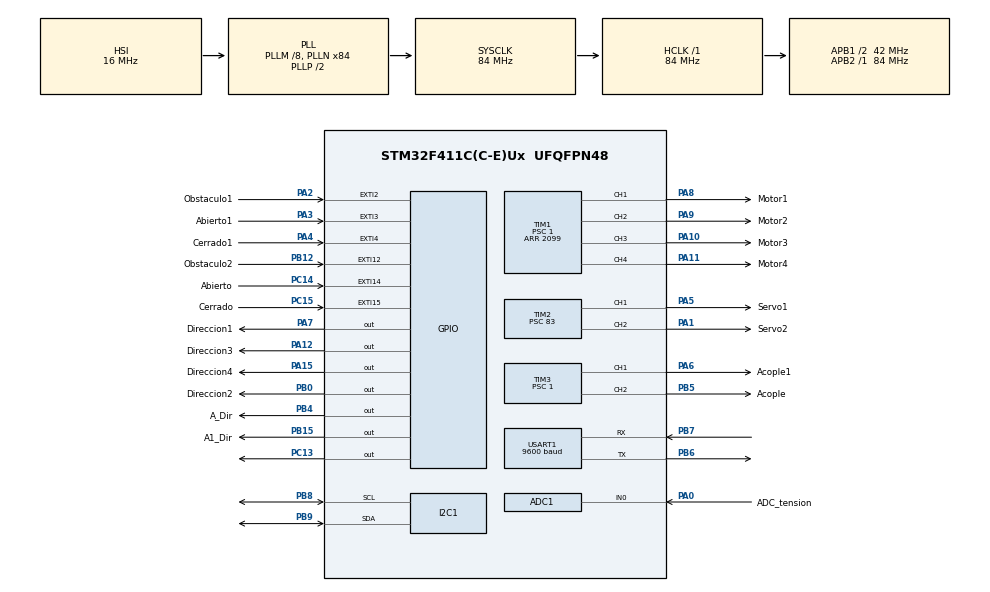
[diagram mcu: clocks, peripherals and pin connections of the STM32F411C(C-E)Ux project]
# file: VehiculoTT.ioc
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ADC1.Channel-0\#ChannelRegularConversion=ADC_CHANNEL_0
ADC1.ContinuousConvMode=ENABLE
ADC1.DMAContinuousRequests=ENABLE
ADC1.NbrOfConversionFlag=1
ADC1.Rank-0\#ChannelRegularConversion=1
ADC1.SamplingTime-0\#ChannelRegularConversion=ADC_SAMPLETIME_3CYCLES
ADC1.master=1
Dma.ADC1.2.Direction=DMA_PERIPH_TO_MEMORY
Dma.ADC1.2.FIFOMode=DMA_FIFOMODE_DISABLE
Dma.ADC1.2.Instance=DMA2_Stream0
Dma.ADC1.2.MemDataAlignment=DMA_MDATAALIGN_HALFWORD
Dma.ADC1.2.MemInc=DMA_MINC_ENABLE
Dma.ADC1.2.Mode=DMA_CIRCULAR
Dma.ADC1.2.PeriphDataAlignment=DMA_PDATAALIGN_HALFWORD
Dma.ADC1.2.PeriphInc=DMA_PINC_DISABLE
Dma.ADC1.2.Priority=DMA_PRIORITY_LOW
Dma.Request0=USART1_RX
Dma.Request1=USART1_TX
Dma.Request2=ADC1
Dma.USART1_RX.0.Direction=DMA_PERIPH_TO_MEMORY
Dma.USART1_RX.0.FIFOMode=DMA_FIFOMODE_DISABLE
Dma.USART1_RX.0.Instance=DMA2_Stream2
Dma.USART1_RX.0.MemDataAlignment=DMA_MDATAALIGN_BYTE
Dma.USART1_RX.0.MemInc=DMA_MINC_ENABLE
Dma.USART1_RX.0.Mode=DMA_CIRCULAR
Dma.USART1_RX.0.PeriphDataAlignment=DMA_PDATAALIGN_BYTE
Dma.USART1_RX.0.PeriphInc=DMA_PINC_DISABLE
Dma.USART1_RX.0.Priority=DMA_PRIORITY_HIGH
Dma.USART1_TX.1.Direction=DMA_MEMORY_TO_PERIPH
Dma.USART1_TX.1.FIFOMode=DMA_FIFOMODE_DISABLE
Dma.USART1_TX.1.Instance=DMA2_Stream7
Dma.USART1_TX.1.MemDataAlignment=DMA_MDATAALIGN_BYTE
Dma.USART1_TX.1.MemInc=DMA_MINC_ENABLE
Dma.USART1_TX.1.Mode=DMA_NORMAL
Dma.USART1_TX.1.PeriphDataAlignment=DMA_PDATAALIGN_BYTE
Dma.USART1_TX.1.PeriphInc=DMA_PINC_DISABLE
Dma.USART1_TX.1.Priority=DMA_PRIORITY_MEDIUM
FREERTOS.Events01=semiAutoEvt,Dynamic,NULL
FREERTOS.Tasks01=defaultTask,24,128,StartDefaultTask,Default,NULL,Dynamic,NULL,NULL;parserTask,32,128,ParserTask,Default,NULL,Dynamic,NULL,NULL;sendTelemetria,24,512,StartTelemetriaTask,Default,NULL,Dynamic,NULL,NULL;semiAutoTask,41,256,StartSemiAutoTask,Default,NULL,Dynamic,NULL,NULL
FREERTOS.configUSE_NEWLIB_REENTRANT=1
Mcu.Family=STM32F4
Mcu.Name=STM32F411C(C-E)Ux
Mcu.Package=UFQFPN48
NVIC.DMA2_Stream0_IRQn=true\:5\:0\:false\:false\:true\:true\:false\:true\:true
NVIC.DMA2_Stream2_IRQn=true\:5\:0\:false\:false\:true\:true\:false\:true\:true
NVIC.DMA2_Stream7_IRQn=true\:5\:0\:false\:false\:true\:true\:false\:true\:true
NVIC.EXTI15_10_IRQn=true\:5\:0\:false\:false\:true\:true\:true\:true\:true
NVIC.EXTI2_IRQn=true\:5\:0\:false\:false\:true\:true\:true\:true\:true
NVIC.EXTI3_IRQn=true\:5\:0\:false\:false\:true\:true\:true\:true\:true
NVIC.EXTI4_IRQn=true\:5\:0\:false\:false\:true\:true\:true\:true\:true
NVIC.PriorityGroup=NVIC_PRIORITYGROUP_4
NVIC.TIM1_BRK_TIM9_IRQn=true\:15\:0\:false\:false\:true\:false\:false\:true\:true
NVIC.TimeBase=TIM1_BRK_TIM9_IRQn
NVIC.TimeBaseIP=TIM9
NVIC.USART1_IRQn=true\:5\:0\:false\:false\:true\:true\:true\:true\:true
PA0-WKUP.GPIO_Label=ADC_tension
PA0-WKUP.Signal=ADCx_IN0
PA1.GPIO_Label=Servo2
PA1.Signal=S_TIM2_CH2
PA10.GPIO_Label=Motor3
PA10.Signal=S_TIM1_CH3
PA11.GPIO_Label=Motor4
PA11.Signal=S_TIM1_CH4
PA12.GPIO_Label=Direccion3
PA12.Signal=GPIO_Output
PA15.GPIO_Label=Direccion4
PA15.Signal=GPIO_Output
PA2.GPIO_Label=Obstaculo1
PA2.GPIO_PuPd=GPIO_PULLDOWN
PA2.Signal=GPXTI2
PA3.GPIO_Label=Abierto1
PA3.GPIO_PuPd=GPIO_PULLDOWN
PA3.Signal=GPXTI3
PA4.GPIO_Label=Cerrado1
PA4.GPIO_PuPd=GPIO_PULLDOWN
PA4.Signal=GPXTI4
PA5.GPIO_Label=Servo1
PA5.Signal=S_TIM2_CH1_ETR
PA6.GPIO_Label=Acople1
PA6.Signal=S_TIM3_CH1
PA7.GPIO_Label=Direccion1
PA7.Signal=GPIO_Output
PA8.GPIO_Label=Motor1
PA8.Signal=S_TIM1_CH1
PA9.GPIO_Label=Motor2
PA9.Signal=S_TIM1_CH2
PB0.GPIO_Label=Direccion2
PB0.Signal=GPIO_Output
PB12.GPIO_Label=Obstaculo2
PB12.GPIO_PuPd=GPIO_PULLDOWN
PB12.Signal=GPXTI12
PB15.GPIO_Label=A1_Dir
PB15.Signal=GPIO_Output
PB4.GPIO_Label=A_Dir
PB4.Signal=GPIO_Output
PB5.GPIO_Label=Acople
PB5.Signal=S_TIM3_CH2
PB6.Mode=Asynchronous
PB6.Signal=USART1_TX
PB7.Mode=Asynchronous
PB7.Signal=USART1_RX
PB8.Mode=I2C
PB8.Signal=I2C1_SCL
PB9.Mode=I2C
PB9.Signal=I2C1_SDA
PC13-ANTI_TAMP.Signal=GPIO_Output
PC14-OSC32_IN.GPIO_Label=Abierto
PC14-OSC32_IN.GPIO_PuPd=GPIO_PULLDOWN
PC14-OSC32_IN.Signal=GPXTI14
PC15-OSC32_OUT.GPIO_Label=Cerrado
PC15-OSC32_OUT.GPIO_PuPd=GPIO_PULLDOWN
PC15-OSC32_OUT.Signal=GPXTI15
PH0\ -\ OSC_IN.Mode=HSE-External-Oscillator
PH0\ -\ OSC_IN.Signal=RCC_OSC_IN
PH1\ -\ OSC_OUT.Mode=HSE-External-Oscillator
PH1\ -\ OSC_OUT.Signal=RCC_OSC_OUT
ProjectManager.HeapSize=0x200
ProjectManager.StackSize=0x400
ProjectManager.TargetToolchain=STM32CubeIDE
RCC.48MHZClocksFreq_Value=42000000
RCC.AHBFreq_Value=84000000
RCC.APB1CLKDivider=RCC_HCLK_DIV2
RCC.APB1Freq_Value=42000000
RCC.APB1TimFreq_Value=84000000
RCC.APB2Freq_Value=84000000
RCC.APB2TimFreq_Value=84000000
RCC.CortexFreq_Value=84000000
RCC.HCLKFreq_Value=84000000
RCC.HSE_VALUE=25000000
RCC.HSI_VALUE=16000000
RCC.LSE_VALUE=32768
RCC.PLLM=8
RCC.PLLN=84
RCC.SYSCLKFreq_VALUE=84000000
RCC.SYSCLKSource=RCC_SYSCLKSOURCE_PLLCLK
RCC.VCOOutputFreq_Value=168000000
SH.ADCx_IN0.0=ADC1_IN0,IN0
SH.S_TIM1_CH1.0=TIM1_CH1,PWM Generation1 CH1
SH.S_TIM1_CH2.0=TIM1_CH2,PWM Generation2 CH2
SH.S_TIM1_CH3.0=TIM1_CH3,PWM Generation3 CH3
SH.S_TIM1_CH4.0=TIM1_CH4,PWM Generation4 CH4
SH.S_TIM2_CH1_ETR.0=TIM2_CH1,PWM Generation1 CH1
SH.S_TIM2_CH2.0=TIM2_CH2,PWM Generation2 CH2
SH.S_TIM3_CH1.0=TIM3_CH1,PWM Generation1 CH1
SH.S_TIM3_CH2.0=TIM3_CH2,PWM Generation2 CH2
TIM1.Channel-PWM\ Generation1\ CH1=TIM_CHANNEL_1
TIM1.Channel-PWM\ Generation2\ CH2=TIM_CHANNEL_2
TIM1.Channel-PWM\ Generation3\ CH3=TIM_CHANNEL_3
TIM1.Channel-PWM\ Generation4\ CH4=TIM_CHANNEL_4
TIM1.OCPolarity_3=TIM_OCPOLARITY_HIGH
TIM1.OCPolarity_4=TIM_OCPOLARITY_HIGH
TIM1.Period=2099
TIM1.Prescaler=1
TIM2.Channel-PWM\ Generation1\ CH1=TIM_CHANNEL_1
TIM2.Channel-PWM\ Generation2\ CH2=TIM_CHANNEL_2
TIM2.Period=19999
TIM2.Prescaler=83
TIM3.Channel-PWM\ Generation1\ CH1=TIM_CHANNEL_1
TIM3.Channel-PWM\ Generation2\ CH2=TIM_CHANNEL_2
TIM3.Period=2099
TIM3.Prescaler=1
USART1.BaudRate=9600
USART1.VirtualMode=VM_ASYNC
VP_FREERTOS_VS_CMSIS_V2.Mode=CMSIS_V2
VP_SYS_VS_tim9.Mode=TIM9
VP_TIM1_VS_ClockSourceINT.Mode=Internal
VP_TIM2_VS_ClockSourceINT.Mode=Internal
VP_TIM3_VS_ClockSourceINT.Mode=Internal
board=custom

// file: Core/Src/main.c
/* USER CODE BEGIN Header */
/**
  ******************************************************************************
  * @file           : main.c
  * @brief          : Main program body
  ******************************************************************************
  * @attention
  *
  * Copyright (c) 2025 STMicroelectronics.
  * All rights reserved.
  *
  * This software is licensed under terms that can be found in the LICENSE file
  * in the root directory of this software component.
  * If no LICENSE file comes with this software, it is provided AS-IS.
  *
  ******************************************************************************
  */
/* USER CODE END Header */
#include "main.h"
#include "cmsis_os.h"

/* USER CODE BEGIN Includes */
#include "string.h"
#include <stdio.h>
#include <math.h>
#include <stdlib.h>
#include "LCD_I2C.h"
#include "MPU9250.h"
#include "protocolo.h"
#include "motor_control.h"
#include "vl53l0x_platform.h"
#include "vl53l0x_api.h"
#include "INA226.h"
#include "globals.h"
/* USER CODE END Includes */

/* USER CODE BEGIN PD */
#define DMA_RX_BUF_SIZE 64
#define ADC_BUF_LEN 10
/* USER CODE END PD */

ADC_HandleTypeDef hadc1;
DMA_HandleTypeDef hdma_adc1;

I2C_HandleTypeDef hi2c1;

TIM_HandleTypeDef htim1;
TIM_HandleTypeDef htim2;
TIM_HandleTypeDef htim3;
TIM_HandleTypeDef htim4;

UART_HandleTypeDef huart1;
DMA_HandleTypeDef hdma_usart1_rx;
DMA_HandleTypeDef hdma_usart1_tx;

/* Definitions for defaultTask */
osThreadId_t defaultTaskHandle;
const osThreadAttr_t defaultTask_attributes = {
  .name = "defaultTask",
  .stack_size = 128 * 4,
  .priority = (osPriority_t) osPriorityNormal,
};
/* Definitions for parserTask */
osThreadId_t parserTaskHandle;
const osThreadAttr_t parserTask_attributes = {
  .name = "parserTask",
  .stack_size = 128 * 4,
  .priority = (osPriority_t) osPriorityAboveNormal,
};
/* Definitions for sendTelemetria */
osThreadId_t sendTelemetriaHandle;
const osThreadAttr_t sendTelemetria_attributes = {
  .name = "sendTelemetria",
  .stack_size = 512 * 4,
  .priority = (osPriority_t) osPriorityNormal,
};
/* Definitions for semiAutoTask */
osThreadId_t semiAutoTaskHandle;
const osThreadAttr_t semiAutoTask_attributes = {
  .name = "semiAutoTask",
  .stack_size = 256 * 4,
  .priority = (osPriority_t) osPriorityHigh1,
};
/* Definitions for semiAutoEvt */
osEventFlagsId_t semiAutoEvtHandle;
const osEventFlagsAttr_t semiAutoEvt_attributes = {
  .name = "semiAutoEvt"
};
/* USER CODE BEGIN PV */
uint8_t dma_rx_buf[DMA_RX_BUF_SIZE];
volatile uint16_t dma_read_idx = 0;
osSemaphoreId_t uartRxSemHandle;
uint16_t adc_buffer[ADC_BUF_LEN];
/* VL53L0X */
VL53L0X_Dev_t                      vl53l0x_dev;
VL53L0X_RangingMeasurementData_t   vl53l0x_meas;
volatile uint16_t                   distancia_mm = 0;

volatile VL53L0X_Error vl53_init_status = 0;
volatile VL53L0X_Error vl53_meas_status = 0;
volatile uint8_t       vl53_range_status = 0xFF;
/* USER CODE END PV */

void SystemClock_Config(void);
static void MX_GPIO_Init(void);
static void MX_DMA_Init(void);
static void MX_I2C1_Init(void);
static void MX_USART1_UART_Init(void);
static void MX_TIM1_Init(void);
static void MX_TIM2_Init(void);
static void MX_ADC1_Init(void);
static void MX_TIM3_Init(void);
void StartDefaultTask(void *argument);
void ParserTask(void *argument);
void StartTelemetriaTask(void *argument);
void StartSemiAutoTask(void *argument);

/* USER CODE BEGIN PFP */
static void MX_TIM4_DebounceInit(void);

/* USER CODE END PFP */

/* USER CODE BEGIN 0 */
/**
  * @brief  Configura TIM4 como una base de tiempo dedicada que genera una
  *         interrupcion periodica cada 10 ms, usada unicamente para el
  *         antirrebote por muestreo del pin Abierto1 (ver TIM4_IRQHandler
  *         en stm32f4xx_it.c). TIM4 no se usa para ningun otro proposito.
  * @retval None
  */
static void MX_TIM4_DebounceInit(void)
{
  __HAL_RCC_TIM4_CLK_ENABLE();

  htim4.Instance = TIM4;
  htim4.Init.Prescaler = 83;                 /* 84 MHz / 84 = 1 MHz -> 1 us por cuenta */
  htim4.Init.CounterMode = TIM_COUNTERMODE_UP;
  htim4.Init.Period = 9999;                  /* 10000 cuentas de 1 us = 10 ms */
  htim4.Init.ClockDivision = TIM_CLOCKDIVISION_DIV1;
  htim4.Init.AutoReloadPreload = TIM_AUTORELOAD_PRELOAD_DISABLE;
  if (HAL_TIM_Base_Init(&htim4) != HAL_OK)
  {
    Error_Handler();
  }

  HAL_NVIC_SetPriority(TIM4_IRQn, 6, 0);
  HAL_NVIC_EnableIRQ(TIM4_IRQn);
  HAL_TIM_Base_Start_IT(&htim4);
}
/* USER CODE END 0 */

int main(void)
{

  /* MCU Configuration--------------------------------------------------------*/

  /* Reset of all peripherals, Initializes the Flash interface and the Systick. */
  HAL_Init();

  /* Configure the system clock */
  SystemClock_Config();

  /* Initialize all configured peripherals */
  MX_GPIO_Init();
  MX_DMA_Init();
  MX_I2C1_Init();
  MX_USART1_UART_Init();
  MX_TIM1_Init();
  MX_TIM2_Init();
  MX_ADC1_Init();
  MX_TIM3_Init();
  /* USER CODE BEGIN 2 */
  MX_TIM4_DebounceInit();
  MPU6050_Init();
  Motor_Init();
  HAL_ADC_Start_DMA(&hadc1,(uint32_t*)adc_buffer, ADC_BUF_LEN);
  updateConfiguration(AVERAGE_4, CONV_TIME_332, SHUNTBUS_CONTINOUS);
  HAL_UART_Receive_DMA(&huart1, dma_rx_buf, DMA_RX_BUF_SIZE);
  __HAL_UART_ENABLE_IT(&huart1, UART_IT_IDLE);
  HAL_NVIC_SetPriority(USART1_IRQn, 6, 0);
  HAL_NVIC_EnableIRQ(USART1_IRQn);
  uint16_t packet_size = 0;
              uint8_t tx_buffer[20];
              uint8_t payload[1] = { (uint8_t)0 };
              packet_size = build_packet(tx_buffer, RESP_SUCCESS, payload, 1);
              if (huart1.gState == HAL_UART_STATE_READY)
                  HAL_UART_Transmit_DMA(&huart1, tx_buffer, packet_size);

  {
    uint32_t refSpadCount;
    uint8_t  isApertureSpads;
    uint8_t  VhvSettings, PhaseCal;
    VL53L0X_Error vl_status = -7;
    vl53l0x_dev.I2cDevAddr      = VL53L0X_DEFAULT_ADDR;
    vl53l0x_dev.comms_speed_khz = 100;
    vl53l0x_dev.comms_type      = 1;
    vl_status = VL53L0X_DataInit(&vl53l0x_dev);
    vl53_init_status = vl_status;
    if (vl_status != VL53L0X_ERROR_NONE) goto vl53_init_fail;
    vl_status = VL53L0X_StaticInit(&vl53l0x_dev);
    vl53_init_status = vl_status;
    if (vl_status != VL53L0X_ERROR_NONE) goto vl53_init_fail;
    vl_status = VL53L0X_PerformRefCalibration(&vl53l0x_dev, &VhvSettings, &PhaseCal);
    vl53_init_status = vl_status;
    if (vl_status != VL53L0X_ERROR_NONE) goto vl53_init_fail;
    vl_status = VL53L0X_PerformRefSpadManagement(&vl53l0x_dev, &refSpadCount, &isApertureSpads);
    vl53_init_status = vl_status;
    if (vl_status != VL53L0X_ERROR_NONE) goto vl53_init_fail;
    vl_status = VL53L0X_SetDeviceMode(&vl53l0x_dev, VL53L0X_DEVICEMODE_SINGLE_RANGING);
    vl53_init_status = vl_status;
    vl53_init_fail:;
  }

  /* USER CODE END 2 */
  //Prueba
  /* Init scheduler */
  osKernelInitialize();

  /* USER CODE BEGIN RTOS_SEMAPHORES */
  const osSemaphoreAttr_t uartRxSem_attr = { .name = "uartRxSem" };
  uartRxSemHandle = osSemaphoreNew(1, 0, &uartRxSem_attr);
  /* USER CODE END RTOS_SEMAPHORES */

  /* Create the thread(s) */
  /* creation of defaultTask */
  defaultTaskHandle = osThreadNew(StartDefaultTask, NULL, &defaultTask_attributes);

  /* creation of parserTask */
  parserTaskHandle = osThreadNew(ParserTask, NULL, &parserTask_attributes);

  /* creation of sendTelemetria */
  sendTelemetriaHandle = osThreadNew(StartTelemetriaTask, NULL, &sendTelemetria_attributes);

  /* creation of semiAutoTask */
  semiAutoTaskHandle = osThreadNew(StartSemiAutoTask, NULL, &semiAutoTask_attributes);

  /* Create the event(s) */
  /* creation of semiAutoEvt */
  semiAutoEvtHandle = osEventFlagsNew(&semiAutoEvt_attributes);

  /* Start scheduler */
  osKernelStart();

  /* We should never get here as control is now taken by the scheduler */

  /* Infinite loop */
  while (1)
  {

  }
}

void SystemClock_Config(void)
{
  RCC_OscInitTypeDef RCC_OscInitStruct = {0};
  RCC_ClkInitTypeDef RCC_ClkInitStruct = {0};

  /** Configure the main internal regulator output voltage
  */
  __HAL_RCC_PWR_CLK_ENABLE();
  __HAL_PWR_VOLTAGESCALING_CONFIG(PWR_REGULATOR_VOLTAGE_SCALE1);

  /** Initializes the RCC Oscillators according to the specified parameters
  * in the RCC_OscInitTypeDef structure.
  */
  RCC_OscInitStruct.OscillatorType = RCC_OSCILLATORTYPE_HSI;
  RCC_OscInitStruct.HSIState = RCC_HSI_ON;
  RCC_OscInitStruct.HSICalibrationValue = RCC_HSICALIBRATION_DEFAULT;
  RCC_OscInitStruct.PLL.PLLState = RCC_PLL_ON;
  RCC_OscInitStruct.PLL.PLLSource = RCC_PLLSOURCE_HSI;
  RCC_OscInitStruct.PLL.PLLM = 8;
  RCC_OscInitStruct.PLL.PLLN = 84;
  RCC_OscInitStruct.PLL.PLLP = RCC_PLLP_DIV2;
  RCC_OscInitStruct.PLL.PLLQ = 4;
  if (HAL_RCC_OscConfig(&RCC_OscInitStruct) != HAL_OK)
  {
    Error_Handler();
  }

  /** Initializes the CPU, AHB and APB buses clocks
  */
  RCC_ClkInitStruct.ClockType = RCC_CLOCKTYPE_HCLK|RCC_CLOCKTYPE_SYSCLK
                              |RCC_CLOCKTYPE_PCLK1|RCC_CLOCKTYPE_PCLK2;
  RCC_ClkInitStruct.SYSCLKSource = RCC_SYSCLKSOURCE_PLLCLK;
  RCC_ClkInitStruct.AHBCLKDivider = RCC_SYSCLK_DIV1;
  RCC_ClkInitStruct.APB1CLKDivider = RCC_HCLK_DIV2;
  RCC_ClkInitStruct.APB2CLKDivider = RCC_HCLK_DIV1;

  if (HAL_RCC_ClockConfig(&RCC_ClkInitStruct, FLASH_LATENCY_2) != HAL_OK)
  {
    Error_Handler();
  }
}

static void MX_ADC1_Init(void)
{

  ADC_ChannelConfTypeDef sConfig = {0};

  /** Configure the global features of the ADC (Clock, Resolution, Data Alignment and number of conversion)
  */
  hadc1.Instance = ADC1;
  hadc1.Init.ClockPrescaler = ADC_CLOCK_SYNC_PCLK_DIV4;
  hadc1.Init.Resolution = ADC_RESOLUTION_12B;
  hadc1.Init.ScanConvMode = DISABLE;
  hadc1.Init.ContinuousConvMode = ENABLE;
  hadc1.Init.DiscontinuousConvMode = DISABLE;
  hadc1.Init.ExternalTrigConvEdge = ADC_EXTERNALTRIGCONVEDGE_NONE;
  hadc1.Init.ExternalTrigConv = ADC_SOFTWARE_START;
  hadc1.Init.DataAlign = ADC_DATAALIGN_RIGHT;
  hadc1.Init.NbrOfConversion = 1;
  hadc1.Init.DMAContinuousRequests = ENABLE;
  hadc1.Init.EOCSelection = ADC_EOC_SINGLE_CONV;
  if (HAL_ADC_Init(&hadc1) != HAL_OK)
  {
    Error_Handler();
  }

  /** Configure for the selected ADC regular channel its corresponding rank in the sequencer and its sample time.
  */
  sConfig.Channel = ADC_CHANNEL_0;
  sConfig.Rank = 1;
  sConfig.SamplingTime = ADC_SAMPLETIME_3CYCLES;
  if (HAL_ADC_ConfigChannel(&hadc1, &sConfig) != HAL_OK)
  {
    Error_Handler();
  }

}

static void MX_I2C1_Init(void)
{

  hi2c1.Instance = I2C1;
  hi2c1.Init.ClockSpeed = 100000;
  hi2c1.Init.DutyCycle = I2C_DUTYCYCLE_2;
  hi2c1.Init.OwnAddress1 = 0;
  hi2c1.Init.AddressingMode = I2C_ADDRESSINGMODE_7BIT;
  hi2c1.Init.DualAddressMode = I2C_DUALADDRESS_DISABLE;
  hi2c1.Init.OwnAddress2 = 0;
  hi2c1.Init.GeneralCallMode = I2C_GENERALCALL_DISABLE;
  hi2c1.Init.NoStretchMode = I2C_NOSTRETCH_DISABLE;
  if (HAL_I2C_Init(&hi2c1) != HAL_OK)
  {
    Error_Handler();
  }

}

static void MX_TIM1_Init(void)
{

  TIM_ClockConfigTypeDef sClockSourceConfig = {0};
  TIM_MasterConfigTypeDef sMasterConfig = {0};
  TIM_OC_InitTypeDef sConfigOC = {0};
  TIM_BreakDeadTimeConfigTypeDef sBreakDeadTimeConfig = {0};

  htim1.Instance = TIM1;
  htim1.Init.Prescaler = 1;
  htim1.Init.CounterMode = TIM_COUNTERMODE_UP;
  htim1.Init.Period = 2099;
  htim1.Init.ClockDivision = TIM_CLOCKDIVISION_DIV1;
  htim1.Init.RepetitionCounter = 0;
  htim1.Init.AutoReloadPreload = TIM_AUTORELOAD_PRELOAD_DISABLE;
  if (HAL_TIM_Base_Init(&htim1) != HAL_OK)
  {
    Error_Handler();
  }
  sClockSourceConfig.ClockSource = TIM_CLOCKSOURCE_INTERNAL;
  if (HAL_TIM_ConfigClockSource(&htim1, &sClockSourceConfig) != HAL_OK)
  {
    Error_Handler();
  }
  if (HAL_TIM_PWM_Init(&htim1) != HAL_OK)
  {
    Error_Handler();
  }
  sMasterConfig.MasterOutputTrigger = TIM_TRGO_RESET;
  sMasterConfig.MasterSlaveMode = TIM_MASTERSLAVEMODE_DISABLE;
  if (HAL_TIMEx_MasterConfigSynchronization(&htim1, &sMasterConfig) != HAL_OK)
  {
    Error_Handler();
  }
  sConfigOC.OCMode = TIM_OCMODE_PWM1;
  sConfigOC.Pulse = 0;
  sConfigOC.OCPolarity = TIM_OCPOLARITY_HIGH;
  sConfigOC.OCNPolarity = TIM_OCNPOLARITY_HIGH;
  sConfigOC.OCFastMode = TIM_OCFAST_DISABLE;
  sConfigOC.OCIdleState = TIM_OCIDLESTATE_RESET;
  sConfigOC.OCNIdleState = TIM_OCNIDLESTATE_RESET;
  if (HAL_TIM_PWM_ConfigChannel(&htim1, &sConfigOC, TIM_CHANNEL_1) != HAL_OK)
  {
    Error_Handler();
  }
  if (HAL_TIM_PWM_ConfigChannel(&htim1, &sConfigOC, TIM_CHANNEL_2) != HAL_OK)
  {
    Error_Handler();
  }
  if (HAL_TIM_PWM_ConfigChannel(&htim1, &sConfigOC, TIM_CHANNEL_3) != HAL_OK)
  {
    Error_Handler();
  }
  if (HAL_TIM_PWM_ConfigChannel(&htim1, &sConfigOC, TIM_CHANNEL_4) != HAL_OK)
  {
    Error_Handler();
  }
  sBreakDeadTimeConfig.OffStateRunMode = TIM_OSSR_DISABLE;
  sBreakDeadTimeConfig.OffStateIDLEMode = TIM_OSSI_DISABLE;
  sBreakDeadTimeConfig.LockLevel = TIM_LOCKLEVEL_OFF;
  sBreakDeadTimeConfig.DeadTime = 0;
  sBreakDeadTimeConfig.BreakState = TIM_BREAK_DISABLE;
  sBreakDeadTimeConfig.BreakPolarity = TIM_BREAKPOLARITY_HIGH;
  sBreakDeadTimeConfig.AutomaticOutput = TIM_AUTOMATICOUTPUT_DISABLE;
  if (HAL_TIMEx_ConfigBreakDeadTime(&htim1, &sBreakDeadTimeConfig) != HAL_OK)
  {
    Error_Handler();
  }
  HAL_TIM_MspPostInit(&htim1);

}

static void MX_TIM2_Init(void)
{

  TIM_ClockConfigTypeDef sClockSourceConfig = {0};
  TIM_MasterConfigTypeDef sMasterConfig = {0};
  TIM_OC_InitTypeDef sConfigOC = {0};

  htim2.Instance = TIM2;
  htim2.Init.Prescaler = 83;
  htim2.Init.CounterMode = TIM_COUNTERMODE_UP;
  htim2.Init.Period = 19999;
  htim2.Init.ClockDivision = TIM_CLOCKDIVISION_DIV1;
  htim2.Init.AutoReloadPreload = TIM_AUTORELOAD_PRELOAD_DISABLE;
  if (HAL_TIM_Base_Init(&htim2) != HAL_OK)
  {
    Error_Handler();
  }
  sClockSourceConfig.ClockSource = TIM_CLOCKSOURCE_INTERNAL;
  if (HAL_TIM_ConfigClockSource(&htim2, &sClockSourceConfig) != HAL_OK)
  {
    Error_Handler();
  }
  if (HAL_TIM_PWM_Init(&htim2) != HAL_OK)
  {
    Error_Handler();
  }
  sMasterConfig.MasterOutputTrigger = TIM_TRGO_RESET;
  sMasterConfig.MasterSlaveMode = TIM_MASTERSLAVEMODE_DISABLE;
  if (HAL_TIMEx_MasterConfigSynchronization(&htim2, &sMasterConfig) != HAL_OK)
  {
    Error_Handler();
  }
  sConfigOC.OCMode = TIM_OCMODE_PWM1;
  sConfigOC.Pulse = 0;
  sConfigOC.OCPolarity = TIM_OCPOLARITY_HIGH;
  sConfigOC.OCFastMode = TIM_OCFAST_DISABLE;
  if (HAL_TIM_PWM_ConfigChannel(&htim2, &sConfigOC, TIM_CHANNEL_1) != HAL_OK)
  {
    Error_Handler();
  }
  if (HAL_TIM_PWM_ConfigChannel(&htim2, &sConfigOC, TIM_CHANNEL_2) != HAL_OK)
  {
    Error_Handler();
  }
  HAL_TIM_MspPostInit(&htim2);

}

static void MX_TIM3_Init(void)
{

  TIM_ClockConfigTypeDef sClockSourceConfig = {0};
  TIM_MasterConfigTypeDef sMasterConfig = {0};
  TIM_OC_InitTypeDef sConfigOC = {0};

  htim3.Instance = TIM3;
  htim3.Init.Prescaler = 1;
  htim3.Init.CounterMode = TIM_COUNTERMODE_UP;
  htim3.Init.Period = 2099;
  htim3.Init.ClockDivision = TIM_CLOCKDIVISION_DIV1;
  htim3.Init.AutoReloadPreload = TIM_AUTORELOAD_PRELOAD_DISABLE;
  if (HAL_TIM_Base_Init(&htim3) != HAL_OK)
  {
    Error_Handler();
  }
  sClockSourceConfig.ClockSource = TIM_CLOCKSOURCE_INTERNAL;
  if (HAL_TIM_ConfigClockSource(&htim3, &sClockSourceConfig) != HAL_OK)
  {
    Error_Handler();
  }
  if (HAL_TIM_PWM_Init(&htim3) != HAL_OK)
  {
    Error_Handler();
  }
  sMasterConfig.MasterOutputTrigger = TIM_TRGO_RESET;
  sMasterConfig.MasterSlaveMode = TIM_MASTERSLAVEMODE_DISABLE;
  if (HAL_TIMEx_MasterConfigSynchronization(&htim3, &sMasterConfig) != HAL_OK)
  {
    Error_Handler();
  }
  sConfigOC.OCMode = TIM_OCMODE_PWM1;
  sConfigOC.Pulse = 0;
  sConfigOC.OCPolarity = TIM_OCPOLARITY_HIGH;
  sConfigOC.OCFastMode = TIM_OCFAST_DISABLE;
  if (HAL_TIM_PWM_ConfigChannel(&htim3, &sConfigOC, TIM_CHANNEL_1) != HAL_OK)
  {
    Error_Handler();
  }
  if (HAL_TIM_PWM_ConfigChannel(&htim3, &sConfigOC, TIM_CHANNEL_2) != HAL_OK)
  {
    Error_Handler();
  }
  HAL_TIM_MspPostInit(&htim3);

}

static void MX_USART1_UART_Init(void)
{

  huart1.Instance = USART1;
  huart1.Init.BaudRate = 9600;
  huart1.Init.WordLength = UART_WORDLENGTH_8B;
  huart1.Init.StopBits = UART_STOPBITS_1;
  huart1.Init.Parity = UART_PARITY_NONE;
  huart1.Init.Mode = UART_MODE_TX_RX;
  huart1.Init.HwFlowCtl = UART_HWCONTROL_NONE;
  huart1.Init.OverSampling = UART_OVERSAMPLING_16;
  if (HAL_UART_Init(&huart1) != HAL_OK)
  {
    Error_Handler();
  }

}

static void MX_DMA_Init(void)
{

  /* DMA controller clock enable */
  __HAL_RCC_DMA2_CLK_ENABLE();

  /* DMA interrupt init */
  /* DMA2_Stream0_IRQn interrupt configuration */
  HAL_NVIC_SetPriority(DMA2_Stream0_IRQn, 5, 0);
  HAL_NVIC_EnableIRQ(DMA2_Stream0_IRQn);
  /* DMA2_Stream2_IRQn interrupt configuration */
  HAL_NVIC_SetPriority(DMA2_Stream2_IRQn, 5, 0);
  HAL_NVIC_EnableIRQ(DMA2_Stream2_IRQn);
  /* DMA2_Stream7_IRQn interrupt configuration */
  HAL_NVIC_SetPriority(DMA2_Stream7_IRQn, 5, 0);
  HAL_NVIC_EnableIRQ(DMA2_Stream7_IRQn);

}

static void MX_GPIO_Init(void)
{
  GPIO_InitTypeDef GPIO_InitStruct = {0};

  /* GPIO Ports Clock Enable */
  __HAL_RCC_GPIOC_CLK_ENABLE();
  __HAL_RCC_GPIOH_CLK_ENABLE();
  __HAL_RCC_GPIOA_CLK_ENABLE();
  __HAL_RCC_GPIOB_CLK_ENABLE();

  /*Configure GPIO pin Output Level */
  HAL_GPIO_WritePin(GPIOC, GPIO_PIN_13, GPIO_PIN_RESET);

  /*Configure GPIO pin Output Level */
  HAL_GPIO_WritePin(GPIOA, Direccion1_Pin|Direccion3_Pin|Direccion4_Pin, GPIO_PIN_RESET);

  /*Configure GPIO pin Output Level */
  HAL_GPIO_WritePin(GPIOB, Direccion2_Pin|A1_Dir_Pin|A_Dir_Pin, GPIO_PIN_RESET);

  /*Configure GPIO pin : PC13 */
  GPIO_InitStruct.Pin = GPIO_PIN_13;
  GPIO_InitStruct.Mode = GPIO_MODE_OUTPUT_PP;
  GPIO_InitStruct.Pull = GPIO_NOPULL;
  GPIO_InitStruct.Speed = GPIO_SPEED_FREQ_LOW;
  HAL_GPIO_Init(GPIOC, &GPIO_InitStruct);

  /*Configure GPIO pins : Abierto_Pin Cerrado_Pin */
  GPIO_InitStruct.Pin = Abierto_Pin|Cerrado_Pin;
  GPIO_InitStruct.Mode = GPIO_MODE_IT_RISING;
  GPIO_InitStruct.Pull = GPIO_PULLDOWN;
  HAL_GPIO_Init(GPIOC, &GPIO_InitStruct);

  /*Configure GPIO pins : Obstaculo1_Pin Abierto1_Pin Cerrado1_Pin */
  GPIO_InitStruct.Pin = Obstaculo1_Pin|Abierto1_Pin|Cerrado1_Pin;
  GPIO_InitStruct.Mode = GPIO_MODE_IT_RISING;
  GPIO_InitStruct.Pull = GPIO_PULLDOWN;
  HAL_GPIO_Init(GPIOA, &GPIO_InitStruct);

  /*Configure GPIO pins : Direccion1_Pin Direccion3_Pin Direccion4_Pin */
  GPIO_InitStruct.Pin = Direccion1_Pin|Direccion3_Pin|Direccion4_Pin;
  GPIO_InitStruct.Mode = GPIO_MODE_OUTPUT_PP;
  GPIO_InitStruct.Pull = GPIO_NOPULL;
  GPIO_InitStruct.Speed = GPIO_SPEED_FREQ_LOW;
  HAL_GPIO_Init(GPIOA, &GPIO_InitStruct);

  /*Configure GPIO pins : Direccion2_Pin A1_Dir_Pin A_Dir_Pin */
  GPIO_InitStruct.Pin = Direccion2_Pin|A1_Dir_Pin|A_Dir_Pin;
  GPIO_InitStruct.Mode = GPIO_MODE_OUTPUT_PP;
  GPIO_InitStruct.Pull = GPIO_NOPULL;
  GPIO_InitStruct.Speed = GPIO_SPEED_FREQ_LOW;
  HAL_GPIO_Init(GPIOB, &GPIO_InitStruct);

  /*Configure GPIO pin : Obstaculo2_Pin */
  GPIO_InitStruct.Pin = Obstaculo2_Pin;
  GPIO_InitStruct.Mode = GPIO_MODE_IT_RISING;
  GPIO_InitStruct.Pull = GPIO_PULLDOWN;
  HAL_GPIO_Init(Obstaculo2_GPIO_Port, &GPIO_InitStruct);

  /* EXTI interrupt init*/
  HAL_NVIC_SetPriority(EXTI2_IRQn, 5, 0);
  HAL_NVIC_EnableIRQ(EXTI2_IRQn);

  HAL_NVIC_SetPriority(EXTI3_IRQn, 5, 0);
  HAL_NVIC_EnableIRQ(EXTI3_IRQn);

  HAL_NVIC_SetPriority(EXTI4_IRQn, 5, 0);
  HAL_NVIC_EnableIRQ(EXTI4_IRQn);

  HAL_NVIC_SetPriority(EXTI15_10_IRQn, 5, 0);
  HAL_NVIC_EnableIRQ(EXTI15_10_IRQn);

}

void StartDefaultTask(void *argument)
{
  for(;;)
  {
    osDelay(1);
  }
}

void ParserTask(void *argument)
{
  /* USER CODE BEGIN ParserTask */
  Packet_t pkt;
  ParserCtx_t ctx = {0};
  osDelay(500);
  {
      static uint8_t sync_tx_buf[20];
      uint8_t sync_payload[1] = { (uint8_t)(int8_t)percentage_pulse };
      uint16_t sync_size = build_packet(sync_tx_buf, RESP_SUCCESS, sync_payload, 1);
      if (huart1.gState == HAL_UART_STATE_READY) {
          HAL_UART_Transmit_DMA(&huart1, sync_tx_buf, sync_size);
      }
  }

  for(;;)
  {
    osSemaphoreAcquire(uartRxSemHandle, osWaitForever);
    uint16_t dma_write_idx = (DMA_RX_BUF_SIZE
        - __HAL_DMA_GET_COUNTER(huart1.hdmarx)) % DMA_RX_BUF_SIZE;
    while (dma_read_idx != dma_write_idx) {
      uint8_t byte = dma_rx_buf[dma_read_idx];
      dma_read_idx = (dma_read_idx + 1) % DMA_RX_BUF_SIZE;
      if (parse_byte(byte, &pkt, &ctx)) {
        execute_command(&pkt);
      }
    }
  }
  /* USER CODE END ParserTask */
}

void StartTelemetriaTask(void *argument)
{
  /* USER CODE BEGIN StartTelemetriaTask */

  TickType_t xLastWakeTime;
  const TickType_t xFrequency = pdMS_TO_TICKS(700);
  static uint8_t tx_buffer[20];
  uint16_t packet_size = 0;
  xLastWakeTime = xTaskGetTickCount();
  float vbat1= 0.0f;
  int16_t ax, ay, az, gx, gy, gz;
  float Ax = 0, Ay = 0, Az = 0;

  for(;;)
  {
      MPU6050_Read(&ax, &ay, &az, &gx, &gy, &gz);
      Ax = ax / 16384.0f;
      Ay = ay / 16384.0f;
      Az = az / 16384.0f;
            uint32_t sum = 0;
            for(int i = 0; i < ADC_BUF_LEN; i++)
            {
                sum += adc_buffer[i];
            }
            vbat1 = (float)sum / ADC_BUF_LEN;
            vbat1 = (vbat1 / 4095.0f) * 16.5f;
            uint16_t vbat_send = (uint16_t)(vbat1 * 100.0f);
            vl53_meas_status = VL53L0X_PerformSingleRangingMeasurement(&vl53l0x_dev, &vl53l0x_meas);
            vl53_range_status = vl53l0x_meas.RangeStatus;

            if (vl53_meas_status == VL53L0X_ERROR_NONE && vl53_range_status == 0) {
                distancia_mm = vl53l0x_meas.RangeMilliMeter;
            }
            uint8_t dist_bytes[2] = {
                (uint8_t)(distancia_mm >> 8),
                (uint8_t)(distancia_mm & 0xFF)
            };
            int16_t ax_send = (int16_t)(Ax * 1000.0f);
            int16_t ay_send = (int16_t)(Ay * 1000.0f);
            int16_t az_send = (int16_t)(Az * 1000.0f);
            uint8_t payload[10] = {
                dist_bytes[0],
                dist_bytes[1],
                (uint8_t)(vbat_send >> 8), (uint8_t)(vbat_send & 0xFF),
                (uint8_t)(ax_send   >> 8), (uint8_t)(ax_send   & 0xFF),
                (uint8_t)(ay_send   >> 8), (uint8_t)(ay_send   & 0xFF),
                (uint8_t)(az_send   >> 8), (uint8_t)(az_send   & 0xFF)
            };
      packet_size = build_packet(tx_buffer, CMD_TELE_SENSORS, payload, 10);
      if (huart1.gState == HAL_UART_STATE_READY) {
          HAL_UART_Transmit_DMA(&huart1, tx_buffer, packet_size);
      }

      vTaskDelayUntil(&xLastWakeTime, xFrequency);
  }
  /* USER CODE END StartTelemetriaTask */
}

#define WAIT_FOR_ACOPLE(dir_var) \
    do { \
        uint32_t t_start = HAL_GetTick(); \
        while ((dir_var) != 0 && (HAL_GetTick() - t_start) < SEMIAUTO_DELAY_RUEDA_MS) { \
            if (osEventFlagsGet(semiAutoEvtHandle) & EVT_STOP_SEMI) break; \
            osDelay(20); \
        } \
    } while (0)

void StartSemiAutoTask(void *argument)
{
  /* USER CODE BEGIN StartSemiAutoTask */
  uint32_t flags;

  for (;;)
  {
    flags = osEventFlagsWait(semiAutoEvtHandle,
                             EVT_START_SEMI | EVT_STOP_SEMI,
                             osFlagsWaitAny | osFlagsNoClear,
                             osWaitForever);
    osEventFlagsClear(semiAutoEvtHandle, EVT_START_SEMI | EVT_STOP_SEMI);

    if (flags & EVT_STOP_SEMI) continue;
    if (HAL_GPIO_ReadPin(Cerrado_GPIO_Port, Cerrado_Pin) == GPIO_PIN_RESET) {
      Acoplar();
      WAIT_FOR_ACOPLE(dir_acoplar);
    }
    if (HAL_GPIO_ReadPin(Cerrado1_GPIO_Port, Cerrado1_Pin) == GPIO_PIN_RESET) {
      Acoplar1();
      WAIT_FOR_ACOPLE(dir_acoplar1);
    }
    Motor_SetAllPulse(MOTOR_PWM_MAX);
    uint8_t stop_requested = 0;
    while (1) {
      if (distancia_mm > 0 && distancia_mm < 43) {
        break;
      }
      flags = osEventFlagsWait(semiAutoEvtHandle,
                               EVT_STOP_SEMI,
                               osFlagsWaitAny | osFlagsNoClear,
                               50);
      if (!(flags & osFlagsError) && (flags & EVT_STOP_SEMI)) {
        osEventFlagsClear(semiAutoEvtHandle, EVT_STOP_SEMI);
        stop_requested = 1;
        break;
      }
    }

    if (stop_requested) { Motor_Stop(); continue; }
    Motor_Stop();
    if (pinza_abierta) {
        Cerrar_Pinza();
        pinza_abierta = 0;
    }
    if (pinza_abierta1) {
            Cerrar_Pinza1();
            pinza_abierta1 = 0;
        }
    osDelay(SEMIAUTO_DELAY_PINZA_MS);
    Desacoplar();
    WAIT_FOR_ACOPLE(dir_acoplar);
    if (osEventFlagsGet(semiAutoEvtHandle) & EVT_STOP_SEMI) {
      osEventFlagsClear(semiAutoEvtHandle, EVT_STOP_SEMI);
      continue;
    }
    Motor_SetAllPulse(SEMIAUTO_VEL_LENTA);
    uint32_t press_start = 0;
    while (1) {
        if (osEventFlagsGet(semiAutoEvtHandle) & EVT_STOP_SEMI) {
            flags = EVT_STOP_SEMI;
            osEventFlagsClear(semiAutoEvtHandle, EVT_STOP_SEMI);
            break;
        }
        if (HAL_GPIO_ReadPin(Obstaculo1_GPIO_Port, Obstaculo1_Pin) == GPIO_PIN_SET) {
            if (press_start == 0) {
                press_start = HAL_GetTick();
            } else if ((HAL_GetTick() - press_start) > 150) {
                flags = EVT_OBSTACULO1;
                break;
            }
        } else {
            press_start = 0;
        }
        osDelay(10);
    }
    osEventFlagsClear(semiAutoEvtHandle, EVT_OBSTACULO1);
    if (flags & EVT_STOP_SEMI) { Motor_Stop(); continue; }
    Motor_Stop();
    Acoplar();
    WAIT_FOR_ACOPLE(dir_acoplar);
    Desacoplar1();
    WAIT_FOR_ACOPLE(dir_acoplar1);
    if (osEventFlagsGet(semiAutoEvtHandle) & EVT_STOP_SEMI) {
      osEventFlagsClear(semiAutoEvtHandle, EVT_STOP_SEMI);
      Motor_Stop();
      continue;
    }
    Motor_SetAllPulse(SEMIAUTO_VEL_LENTA);
    osDelay(SEMIAUTO_CRUCE_MS);
    if (osEventFlagsGet(semiAutoEvtHandle) & EVT_STOP_SEMI) {
      osEventFlagsClear(semiAutoEvtHandle, EVT_STOP_SEMI);
      Motor_Stop();
      continue;
    }
    Motor_Stop();
    Acoplar1();
    WAIT_FOR_ACOPLE(dir_acoplar1);
    if (osEventFlagsGet(semiAutoEvtHandle) & EVT_STOP_SEMI) {
      osEventFlagsClear(semiAutoEvtHandle, EVT_STOP_SEMI);
      continue;
    }
    if (!pinza_abierta) {
        Abrir_Pinza();
        pinza_abierta = 1;
    }
    if (!pinza_abierta1) {
            Abrir_Pinza1();
            pinza_abierta1 = 1;
        }
    osDelay(SEMIAUTO_DELAY_PINZA_MS);
    Motor_SetAllPulse(MOTOR_PWM_MAX);

  }
  /* USER CODE END StartSemiAutoTask */
}

void HAL_TIM_PeriodElapsedCallback(TIM_HandleTypeDef *htim)
{
  if (htim->Instance == TIM9) {
    HAL_IncTick();
  }
}

void Error_Handler(void)
{
  __disable_irq();
  while (1)
  {
  }
}
